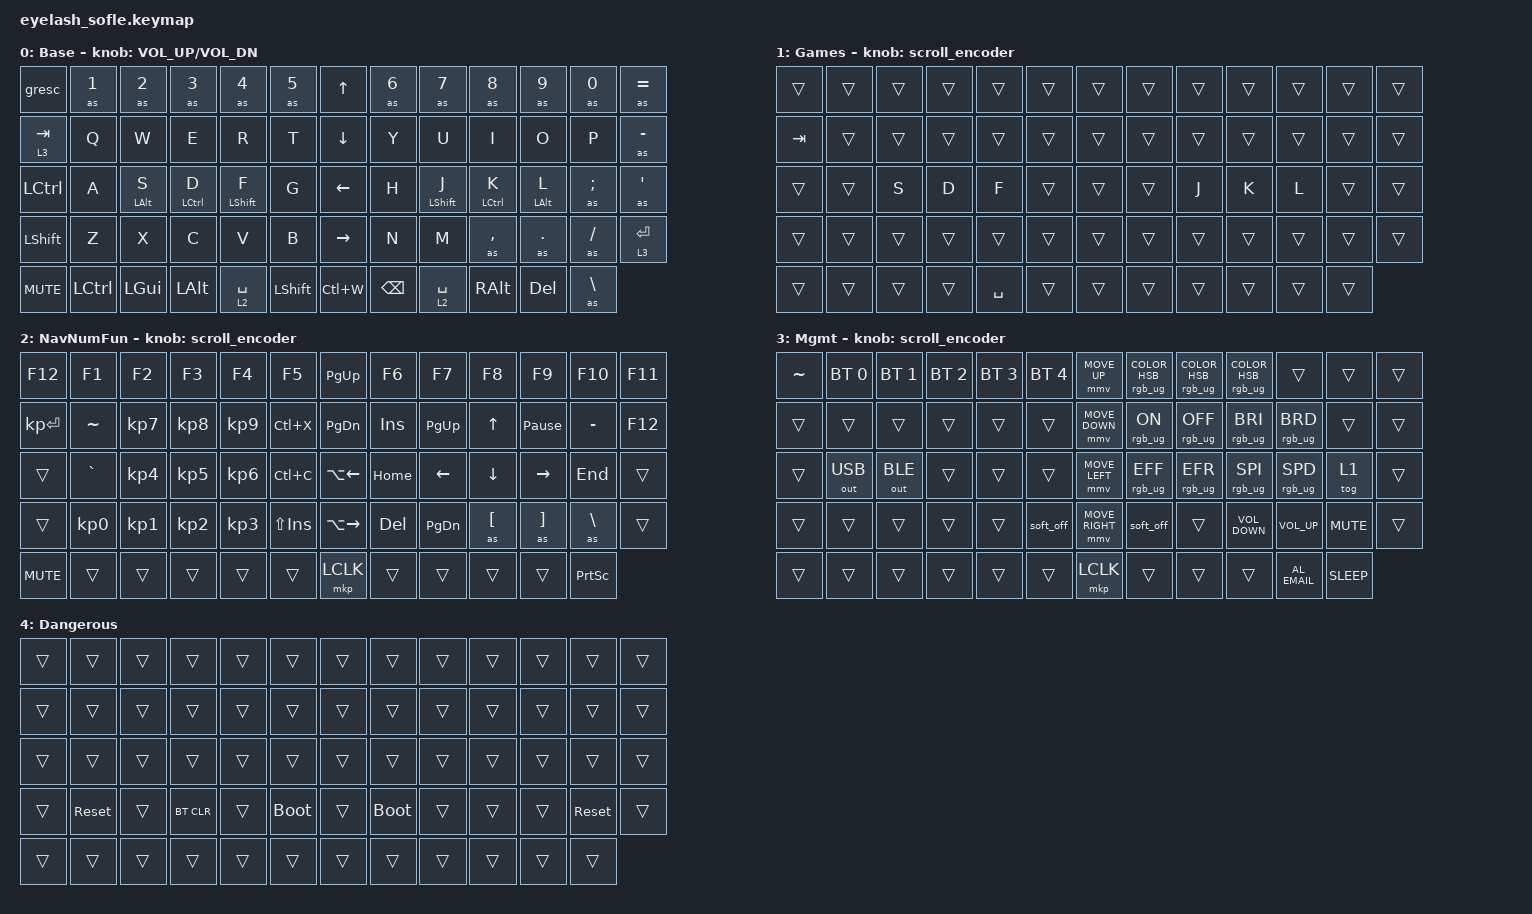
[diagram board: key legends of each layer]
#define ZMK_POINTING_DEFAULT_MOVE_VAL 1200  // 600
#define ZMK_POINTING_DEFAULT_SCRL_VAL 25   // 10

#include <input/processors.dtsi>
#include <zephyr/dt-bindings/input/input-event-codes.h>
#include <behaviors.dtsi>
#include <dt-bindings/zmk/bt.h>
#include <dt-bindings/zmk/keys.h>
#include <dt-bindings/zmk/outputs.h>
#include <dt-bindings/zmk/pointing.h>
#include <dt-bindings/zmk/rgb.h>

&mmv_input_listener { input-processors = <&zip_xy_scaler 2 1>; };

&msc_input_listener { input-processors = <&zip_scroll_scaler 2 1>; };

&msc {
    acceleration-exponent = <1>;      // 0
    time-to-max-speed-ms = <100>;       // 300
    delay-ms = <0>;                   // 0
};

&mmv {
    time-to-max-speed-ms = <500>;
    acceleration-exponent = <1>;
    trigger-period-ms = <16>;
};

&gresc { mods = <(MOD_LALT|MOD_LCTL)>; };

&lt { quick-tap-ms = <200>; };

&mt {
    flavor = "balanced";
    require-prior-idle-ms = <150>;
    quick-tap-ms = <240>;
};

/ {
    scroll_encoder: scroll_encoder {
        compatible = "zmk,behavior-sensor-rotate";
        #sensor-binding-cells = <0>;
        bindings = <&msc SCRL_DOWN>, <&msc SCRL_UP>;

        tap-ms = <100>;
    };

    combos {
        compatible = "zmk,combos";

        next-word {
            bindings = <&kp LC(RIGHT)>;
            key-positions = <49 50>;
        };

        prev-word {
            bindings = <&kp LC(LEFT)>;
            key-positions = <47 48>;
        };
    };

    behaviors {
        as_ht: autoshift_hold_tap {
            compatible = "zmk,behavior-hold-tap";
            label = "AUTOSHIFT_HOLD_TAP";
            #binding-cells = <2>;
            tapping-term-ms = <200>;
            bindings = <&shifted>, <&kp>;
        };
    };

    macros {
        shifted: macro_shifted_kp {
            #binding-cells = <1>;
            label = "MACRO_SHIFTED_KP";
            compatible = "zmk,behavior-macro-one-param";
            bindings =
                <&macro_press>,
                <&kp LSHFT &macro_param_1to1>,
                <&macro_tap>,
                <&kp MACRO_PLACEHOLDER>,
                <&macro_release>,
                <&kp LSHFT>;
        };

        as: autoshift {
            compatible = "zmk,behavior-macro-one-param";
            #binding-cells = <1>;
            label = "AUTOSHIFT_KP";
            bindings =
                <&macro_press>,
                <&macro_param_1to1 &macro_param_1to2 &as_ht MACRO_PLACEHOLDER MACRO_PLACEHOLDER>,
                <&macro_pause_for_release>,
                <&macro_release>,
                <&macro_param_1to1 &macro_param_1to2 &as_ht MACRO_PLACEHOLDER MACRO_PLACEHOLDER>;
        };
    };

    keymap {
        compatible = "zmk,keymap";

        layer_0 {
            bindings = <
&gresc      &as N1     &as N2          &as N3              &as N4            &as N5       &kp UP_ARROW     &as N6    &as N7            &as N8              &as N9          &as N0         &as EQUAL
&lt 3 TAB   &kp Q      &kp W           &kp E               &kp R             &kp T        &kp DOWN_ARROW   &kp Y     &kp U             &kp I               &kp O           &kp P          &as MINUS
&kp LCTRL   &kp A      &mt LEFT_ALT S  &mt LEFT_CONTROL D  &mt LEFT_SHIFT F  &kp G        &kp LEFT_ARROW   &kp H     &mt LEFT_SHIFT J  &mt LEFT_CONTROL K  &mt LEFT_ALT L  &as SEMI       &as APOS
&kp LSHFT   &kp Z      &kp X           &kp C               &kp V             &kp B        &kp RIGHT_ARROW  &kp N     &kp M             &as COMMA           &as DOT         &as FSLH       &lt 3 ENTER
&kp C_MUTE  &kp LCTRL  &kp LGUI        &kp LEFT_ALT        &lt 2 SPACE       &kp LSHFT    &kp LC(W)        &kp BSPC  &lt 2 SPACE       &kp RALT            &kp DEL         &as BACKSLASH
            >;

            sensor-bindings = <&inc_dec_kp C_VOLUME_UP C_VOL_DN>;
            display-name = "Base";
        };

        games {
            bindings = <
&trans   &trans  &trans  &trans  &trans     &trans    &trans  &trans  &trans  &trans  &trans  &trans  &trans
&kp TAB  &trans  &trans  &trans  &trans     &trans    &trans  &trans  &trans  &trans  &trans  &trans  &trans
&trans   &trans  &kp S   &kp D   &kp F      &trans    &trans  &trans  &kp J   &kp K   &kp L   &trans  &trans
&trans   &trans  &trans  &trans  &trans     &trans    &trans  &trans  &trans  &trans  &trans  &trans  &trans
&trans   &trans  &trans  &trans  &kp SPACE  &trans    &trans  &trans  &trans  &trans  &trans  &trans
            >;

            sensor-bindings = <&scroll_encoder>;
            display-name = "Games";
        };

        nav_num_fun {
            bindings = <
&kp F12       &kp F1           &kp F2           &kp F3           &kp F4           &kp F5         &kp PG_UP      &kp F6    &kp F7     &kp F8    &kp F9           &kp F10          &kp F11
&kp KP_ENTER  &kp TILDE        &kp KP_NUMBER_7  &kp KP_NUMBER_8  &kp KP_NUMBER_9  &kp LC(X)      &kp PG_DN      &kp INS   &kp PG_UP  &kp UP    &kp PAUSE_BREAK  &kp MINUS        &kp F12
&trans        &kp GRAVE        &kp KP_NUMBER_4  &kp KP_NUMBER_5  &kp KP_NUMBER_6  &kp LC(C)      &kp LA(LEFT)   &kp HOME  &kp LEFT   &kp DOWN  &kp RIGHT        &kp END          &trans
&trans        &kp KP_NUMBER_0  &kp KP_NUMBER_1  &kp KP_NUMBER_2  &kp KP_NUMBER_3  &kp LS(INS)    &kp LA(RIGHT)  &kp DEL   &kp PG_DN  &as LBKT  &as RBKT         &as BACKSLASH    &trans
&kp C_MUTE    &trans           &trans           &trans           &trans           &trans         &mkp LCLK      &trans    &trans     &trans    &trans           &kp PRINTSCREEN
            >;

            display-name = "NavNumFun";
            sensor-bindings = <&scroll_encoder>;
        };

        mgmt {
            bindings = <
&kp TILDE  &bt BT_SEL 0  &bt BT_SEL 1  &bt BT_SEL 2  &bt BT_SEL 3  &bt BT_SEL 4    &mmv MOVE_UP     &rgb_ug RGB_COLOR_HSB(185,72,36)  &rgb_ug RGB_COLOR_HSB(327,82,45)  &rgb_ug RGB_COLOR_HSB(39,100,50)  &trans           &trans       &trans
&trans     &trans        &trans        &trans        &trans        &trans          &mmv MOVE_DOWN   &rgb_ug RGB_ON                    &rgb_ug RGB_OFF                   &rgb_ug RGB_BRI                   &rgb_ug RGB_BRD  &trans       &trans
&trans     &out OUT_USB  &out OUT_BLE  &trans        &trans        &trans          &mmv MOVE_LEFT   &rgb_ug RGB_EFF                   &rgb_ug RGB_EFR                   &rgb_ug RGB_SPI                   &rgb_ug RGB_SPD  &tog 1       &trans
&trans     &trans        &trans        &trans        &trans        &soft_off       &mmv MOVE_RIGHT  &soft_off                         &trans                            &kp C_VOLUME_DOWN                 &kp C_VOLUME_UP  &kp C_MUTE   &trans
&trans     &trans        &trans        &trans        &trans        &trans          &mkp LCLK        &trans                            &trans                            &trans                            &kp C_AL_EMAIL   &kp C_SLEEP
            >;

            sensor-bindings = <&scroll_encoder>;
            display-name = "Mgmt";
        };

        Danger {
            bindings = <
&trans  &trans      &trans  &trans      &trans  &trans         &trans  &trans       &trans  &trans  &trans  &trans      &trans
&trans  &trans      &trans  &trans      &trans  &trans         &trans  &trans       &trans  &trans  &trans  &trans      &trans
&trans  &trans      &trans  &trans      &trans  &trans         &trans  &trans       &trans  &trans  &trans  &trans      &trans
&trans  &sys_reset  &trans  &bt BT_CLR  &trans  &bootloader    &trans  &bootloader  &trans  &trans  &trans  &sys_reset  &trans
&trans  &trans      &trans  &trans      &trans  &trans         &trans  &trans       &trans  &trans  &trans  &trans
            >;

            display-name = "Dangerous";
        };
    };

    conditional_layers {
        compatible = "zmk,conditional-layers";

        one+two {
            if-layers = <2 3>;
            then-layer = <4>;
        };
    };
};
